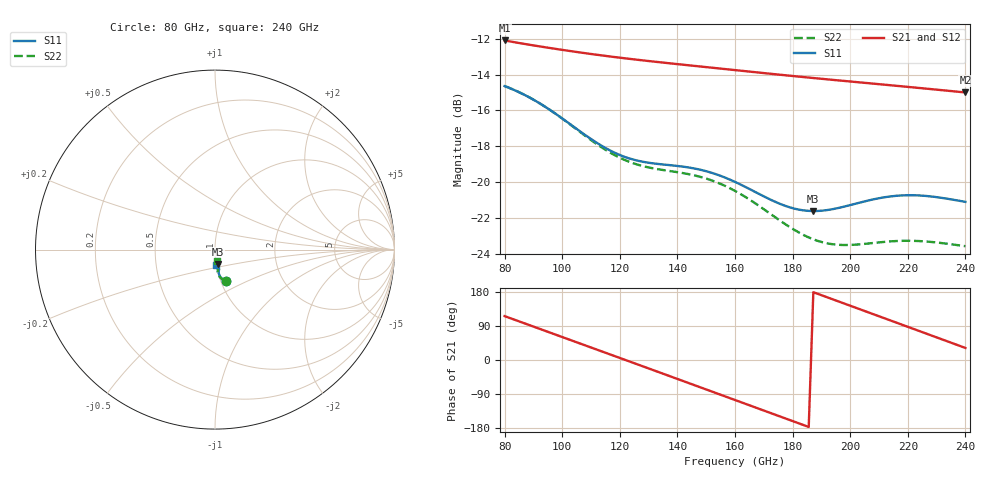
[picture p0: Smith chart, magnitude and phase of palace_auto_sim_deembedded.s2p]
! Created with skrf 1.11.0 (http://scikit-rf.org).
# GHz S DB R 50.0
!freq dBS11 angS11 dBS21 angS21 dBS12 angS12 dBS22 angS22
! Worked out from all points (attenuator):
!   101 points, 80 GHz to 240 GHz, reference 50 ohm
!   highest |S21| = -12.09 dB at 80 GHz (marker M1); lowest = -15.0 dB at 240 GHz (marker M2)
!   lowest |S11| = -21.6 dB at 187.2 GHz (marker M3), VSWR 1.18, Z = 50.9 - j8.35 ohm
!   |S11| at or under -10 dB: start of sweep to end of sweep
!   |S22| runs from -23.6 to -14.6 dB; largest |S21 - S12| = 3.7e-14
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80  -14.64 -70.3  -12.09 115.8  -12.09 115.8  -14.64 -70.9
86.4  -15.09 -73.5  -12.27 98.2  -12.27 98.2  -15.08 -74.4
92.8  -15.67 -76.7  -12.44 80.5  -12.44 80.5  -15.66 -77.8
99.2  -16.35 -79.2  -12.59 62.8  -12.59 62.8  -16.36 -80.7
107.2  -17.28 -80.8  -12.78 40.7  -12.78 40.7  -17.32 -82.8
113.6  -17.97 -80.7  -12.92 23.1  -12.92 23.1  -18.05 -83.2
120  -18.49 -79.7  -13.05 5.4  -13.05 5.4  -18.64 -82.6
126.4  -18.81 -78.7  -13.17 -12.3  -13.17 -12.3  -19.04 -81.8
134.4  -19.01 -78.2  -13.31 -34.4  -13.31 -34.4  -19.31 -81.6
147.2  -19.29 -80.4  -13.53 -70.0  -13.53 -70.0  -19.68 -84.3
153.6  -19.58 -82.1  -13.64 -87.8  -13.64 -87.8  -20.01 -86.7
160  -19.99 -83.6  -13.74 -105.6  -13.74 -105.6  -20.50 -89.0
166.4  -20.50 -84.3  -13.85 -123.4  -13.85 -123.4  -21.12 -90.6
174.4  -21.14 -83.3  -13.98 -145.6  -13.98 -145.6  -22.02 -91.0
180.8  -21.49 -81.3  -14.09 -163.4  -14.09 -163.4  -22.69 -89.7
187.2  -21.62 -78.8  -14.19 178.9  -14.19 178.9  -23.20 -87.1
200  -21.29 -76.0  -14.38 143.3  -14.38 143.3  -23.52 -81.7
208  -20.97 -76.6  -14.50 121.0  -14.50 121.0  -23.41 -80.1
214.4  -20.80 -78.3  -14.60 103.2  -14.60 103.2  -23.31 -80.0
220.8  -20.74 -80.3  -14.70 85.3  -14.70 85.3  -23.28 -80.5
227.2  -20.79 -82.4  -14.79 67.5  -14.79 67.5  -23.34 -81.3
240  -21.11 -85.5  -15.00 31.8  -15.00 31.8  -23.59 -82.3
